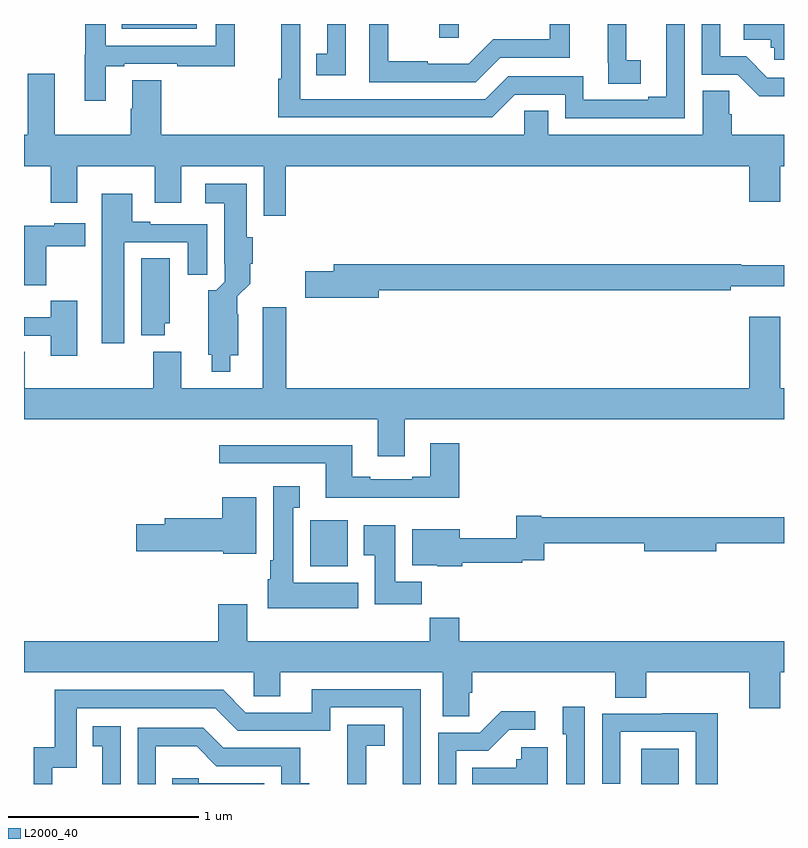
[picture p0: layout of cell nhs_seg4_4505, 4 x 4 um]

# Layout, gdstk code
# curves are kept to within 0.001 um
import gdstk
lib = gdstk.Library(unit=1e-6, precision=1e-09)
def R(c, l, rs):  # rectangles x0, y0, x1, y1
    for r in rs: c.add(gdstk.rectangle(r[:2], r[2:], *l))
def P(c, l, *ps):  # polygons
    for p in ps: c.add(gdstk.Polygon(p, *l))
L2000_40 = (2000, 40)

nhs_seg4_4505 = lib.new_cell('nhs_seg4_4505')
R(nhs_seg4_4505, L2000_40, [(356.249,794.9,356.446,795.085), (354.506,796.046,354.703,796.288), (355.186,798.828,355.287,798.9), (353.515,798.875,353.908,798.9)])
P(nhs_seg4_4505, L2000_40, [(356.478,798.9),(356.381,798.9),(356.381,798.516),(356.285,798.516),(356.285,798.501),(355.944,798.501),(355.944,798.624),(355.548,798.624),(355.428,798.504),(354.453,798.504),(354.454,798.9),(354.355,798.9),(354.355,798.611),(354.337,798.611),(354.337,798.408),(355.464,798.408),(355.584,798.528),(355.848,798.528),(355.848,798.405),(356.478,798.405)],
  [(355.506,798.723),(355.873,798.723),(355.873,798.9),(355.766,798.9),(355.766,798.819),(355.47,798.819),(355.342,798.691),(355.124,798.691),(355.124,798.703),(354.917,798.703),(354.917,798.9),(354.816,798.9),(354.816,798.594),(355.377,798.594)],
  [(356.245,798.708),(356.171,798.708),(356.171,798.9),(356.072,798.9),(356.072,798.697),(356.074,798.697),(356.074,798.586),(356.245,798.586)],
  [(357,798.618),(356.913,798.618),(356.802,798.729),(356.664,798.729),(356.664,798.9),(356.568,798.9),(356.568,798.633),(356.757,798.633),(356.87,798.521),(357,798.521)],
  [(357,798.9),(356.787,798.9),(356.787,798.818),(356.931,798.818),(356.931,798.774),(356.949,798.774),(356.949,798.711),(357,798.711)],
  [(354.693,798.9),(354.596,798.9),(354.596,798.743),(354.538,798.743),(354.538,798.63),(354.693,798.63)],
  [(353.431,798.678),(353.527,798.678),(353.527,798.69),(353.806,798.69),(353.806,798.678),(354.108,798.678),(354.108,798.9),(354.009,798.9),(354.009,798.786),(353.43,798.786),(353.43,798.9),(353.322,798.9),(353.322,798.739),(353.321,798.739),(353.321,798.495),(353.431,798.495)],
  [(354.377,798.152),(356.816,798.152),(356.816,797.964),(356.98,797.964),(356.98,798.152),(357,798.152),(357,798.316),(356.726,798.316),(356.726,798.425),(356.712,798.425),(356.712,798.548),(356.573,798.548),(356.573,798.316),(355.759,798.316),(355.759,798.443),(355.632,798.443),(355.632,798.316),(353.723,798.316),(353.723,798.605),(353.57,798.605),(353.57,798.455),(353.563,798.455),(353.563,798.316),(353.161,798.316),(353.161,798.637),(353.021,798.637),(353.021,798.316),(353,798.316),(353,798.152),(353.141,798.152),(353.141,797.958),(353.281,797.958),(353.281,798.152),(353.687,798.152),(353.687,797.958),(353.827,797.958),(353.827,798.152),(354.261,798.152),(354.261,797.892),(354.377,797.892)],
  [(354.085,797.156),(354.127,797.156),(354.127,797.372),(354.123,797.372),(354.123,797.466),(354.19,797.533),(354.19,797.638),(354.203,797.638),(354.203,797.778),(354.172,797.778),(354.172,798.058),(353.955,798.058),(353.955,797.957),(354.053,797.957),(354.053,797.638),(354.057,797.638),(354.057,797.544),(354.011,797.498),(353.969,797.498),(353.969,797.16),(353.987,797.16),(353.987,797.069),(354.085,797.069)],
  [(353.527,797.751),(353.861,797.751),(353.861,797.581),(353.964,797.581),(353.964,797.847),(353.665,797.847),(353.665,797.86),(353.569,797.86),(353.569,798.007),(353.408,798.007),(353.408,797.22),(353.527,797.22)],
  [(353.116,797.729),(353.323,797.729),(353.323,797.851),(353.16,797.851),(353.16,797.839),(353,797.839),(353,797.525),(353.116,797.525)],
  [(353.74,797.325),(353.767,797.325),(353.767,797.666),(353.618,797.666),(353.618,797.261),(353.74,797.261)],
  [(354.868,797.5),(356.72,797.5),(356.72,797.519),(357,797.519),(357,797.629),(356.776,797.629),(356.776,797.636),(354.629,797.636),(354.629,797.6),(354.48,797.6),(354.48,797.458),(354.868,797.458)],
  [(353.281,797.443),(353.141,797.443),(353.141,797.356),(353,797.356),(353,797.259),(353.141,797.259),(353.141,797.154),(353.281,797.154)],
  [(355.003,796.82),(357,796.82),(357,796.984),(356.98,796.984),(356.98,797.359),(356.816,797.359),(356.816,796.984),(354.38,796.984),(354.38,797.41),(354.257,797.41),(354.257,796.984),(353.827,796.984),(353.827,797.176),(353.68,797.176),(353.68,796.984),(353.005,796.984),(353.005,797.174),(353,797.174),(353,796.82),(354.863,796.82),(354.863,796.626),(355.003,796.626)],
  [(355.292,796.693),(355.139,796.693),(355.139,796.516),(355.043,796.516),(355.043,796.503),(354.823,796.503),(354.823,796.516),(354.727,796.516),(354.727,796.684),(354.027,796.684),(354.027,796.587),(354.587,796.587),(354.587,796.406),(355.292,796.406)],
  [(354.76,795.958),(354.418,795.958),(354.418,796.355),(354.451,796.355),(354.451,796.468),(354.311,796.468),(354.311,796.078),(354.296,796.078),(354.296,795.978),(354.284,795.978),(354.284,795.824),(354.76,795.824)],
  [(354.223,796.408),(354.044,796.408),(354.044,796.298),(353.741,796.298),(353.741,796.268),(353.592,796.268),(353.592,796.126),(354.048,796.126),(354.048,796.112),(354.223,796.112)],
  [(355.307,796.065),(355.622,796.065),(355.622,796.077),(355.739,796.077),(355.739,796.168),(356.264,796.168),(356.264,796.126),(356.644,796.126),(356.644,796.168),(357,796.168),(357,796.304),(355.722,796.304),(355.722,796.312),(355.591,796.312),(355.591,796.193),(355.294,796.193),(355.294,796.24),(355.043,796.24),(355.043,796.052),(355.176,796.052),(355.176,796.046),(355.307,796.046)],
  [(355.094,795.964),(354.955,795.964),(354.955,796.261),(354.788,796.261),(354.788,796.105),(354.845,796.105),(354.845,795.846),(355.094,795.846)],
  [(354.175,795.847),(354.023,795.847),(354.023,795.652),(353,795.652),(353,795.488),(354.21,795.488),(354.21,795.361),(354.349,795.361),(354.349,795.488),(355.205,795.488),(355.205,795.256),(355.344,795.256),(355.344,795.379),(355.358,795.379),(355.358,795.488),(356.111,795.488),(356.111,795.355),(356.276,795.355),(356.276,795.488),(356.816,795.488),(356.816,795.3),(356.98,795.3),(356.98,795.488),(357,795.488),(357,795.652),(355.292,795.652),(355.292,795.776),(355.135,795.776),(355.135,795.652),(354.175,795.652)],
  [(353.148,794.985),(353.277,794.985),(353.277,795.3),(354.006,795.3),(354.126,795.18),(354.612,795.18),(354.612,795.303),(354.993,795.303),(354.993,794.9),(355.089,794.9),(355.089,795.399),(354.515,795.399),(354.515,795.276),(354.168,795.276),(354.048,795.396),(353.161,795.396),(353.161,795.094),(353.051,795.094),(353.051,794.9),(353.148,794.9)],
  [(355.95,795.307),(355.835,795.307),(355.835,795.162),(355.854,795.162),(355.854,794.9),(355.95,794.9)],
  [(355.275,795.075),(355.444,795.075),(355.555,795.186),(355.69,795.186),(355.69,795.284),(355.511,795.284),(355.398,795.171),(355.179,795.171),(355.179,794.9),(355.275,794.9)],
  [(356.651,795.272),(356.359,795.272),(356.359,795.27),(356.043,795.27),(356.043,794.901),(356.139,794.901),(356.139,795.174),(356.535,795.174),(356.535,794.9),(356.651,794.9)],
  [(354.8,795.101),(354.898,795.101),(354.898,795.211),(354.7,795.211),(354.7,795.005),(354.701,795.005),(354.701,794.9),(354.8,794.9)],
  [(353.508,795.205),(353.362,795.205),(353.362,795.099),(353.411,795.099),(353.411,794.9),(353.508,794.9)],
  [(353.694,795.098),(353.908,795.098),(354.012,794.994),(354.354,794.994),(354.354,794.9),(354.502,794.9),(354.502,794.905),(354.453,794.905),(354.453,795.09),(354.049,795.09),(353.944,795.195),(353.598,795.195),(353.598,794.9),(353.694,794.9)],
  [(355.756,795.094),(355.617,795.094),(355.617,795.03),(355.591,795.03),(355.591,794.986),(355.36,794.986),(355.36,794.9),(355.756,794.9)],
  [(354.264,794.904),(353.919,794.904),(353.919,794.931),(353.779,794.931),(353.779,794.9),(354.264,794.9)])

lib.write_gds('nhs_seg4_4505.gds')
